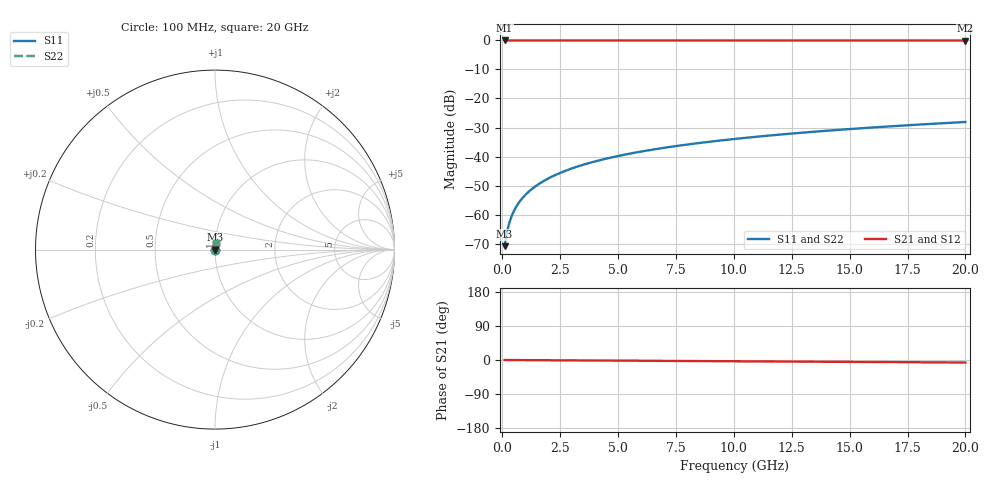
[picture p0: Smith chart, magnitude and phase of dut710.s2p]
! Touchstone file exported from HFSS 2026.1.0
!  File:  C:/ffzhzh/LocalFiles/Ansys_Project_Files/temp_train_TSV_710_1783182002_22436.aedt
!  Generated:  12:21:31 AM Jul  5, 2026
!  Design:  TSV
!  Project:  temp_train_TSV_710_1783182002_22436
! Variables:
!  h_bsmrdl = 2um
!  h_ox = 20um
!  h_rdl = 5um
!  h_sub = 57.57um
!  h_tmrdl = 5um
!  h_tsv = 57.57um
!  h_via = 3um
!  l_bsmrdl = 300um
!  l_sub = 414.18um
!  l_tmrdl = 200um
!  m_sub = 200um
!  pitch = 44.64um
!  r_tsv = 7.09um
!  s_tmrdl = 10um
!  w_bsmrdl = 18um
!  w_sub = 500um
!  w_tmrdl = 12um
!  x_tsv_center1 = 206um
!  x_tsv_center2 = 524um
!  x_tsv_center3 = 736um
!  x_tsv_center4 = 1054um
!  x_tsv_center5 = 1266um
!  x_tsv_center6 = 1584um
# GHz S MA R 50.000000
! Terminal data exported
! Port[1] = TSV1_1_T1
! Port[2] = TSV1_1_T2
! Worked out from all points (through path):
!   200 points, 100 MHz to 20 GHz, reference 50 ohm
!   highest |S21| = 0.00 dB at 100 MHz (marker M1); lowest = 0.0 dB at 20 GHz (marker M2)
!   lowest |S11| = -70.9 dB at 100 MHz (marker M3), VSWR 1.00, Z = 50 + j0.0232 ohm
!   |S11| at or under -10 dB: start of sweep to end of sweep
!   |S22| runs from -70.9 to -28.1 dB; largest |S21 - S12| = 5.2e-15
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0.1  0.0002857 54.2  0.9998 -0.0  0.9998 -0.0  0.0002857 54.2
! Gamma 0 0 0 0
! Port Impedance 50 0 50 0
0.2  0.0004941 69.1  0.9998 -0.1  0.9998 -0.1  0.0004941 69.1
0.3  0.0007137 74.5  0.9998 -0.1  0.9998 -0.1  0.0007137 74.5
0.4  0.0009332 77.2  0.9998 -0.1  0.9998 -0.1  0.0009332 77.2
0.5  0.00115 78.7  0.9998 -0.2  0.9998 -0.2  0.00115 78.7
0.6  0.001364 79.6  0.9998 -0.2  0.9998 -0.2  0.001364 79.6
0.7  0.001574 80.3  0.9997 -0.2  0.9997 -0.2  0.001574 80.3
0.8  0.001783 80.9  0.9997 -0.3  0.9997 -0.3  0.001783 80.9
1  0.002194 81.7  0.9997 -0.3  0.9997 -0.3  0.002194 81.7
1.4  0.003007 82.9  0.9996 -0.5  0.9996 -0.5  0.003007 82.9
1.7  0.003613 83.4  0.9996 -0.6  0.9996 -0.6  0.003613 83.4
2  0.004219 83.9  0.9996 -0.7  0.9996 -0.7  0.004219 83.9
2.7  0.005629 84.5  0.9995 -0.9  0.9995 -0.9  0.005629 84.5
3.5  0.007234 84.8  0.9995 -1.2  0.9995 -1.2  0.007234 84.8
4.2  0.008631 84.9  0.9994 -1.4  0.9994 -1.4  0.008631 84.9
5  0.01022 84.9  0.9993 -1.7  0.9993 -1.7  0.01022 84.9
6.8  0.01377 84.7  0.9992 -2.3  0.9992 -2.3  0.01377 84.7
8.3  0.01671 84.5  0.9991 -2.8  0.9991 -2.8  0.01671 84.5
10.1  0.02023 84.2  0.9989 -3.4  0.9989 -3.4  0.02023 84.2
13.4  0.02665 83.4  0.9986 -4.4  0.9986 -4.4  0.02665 83.4
16.7  0.03304 82.5  0.9983 -5.5  0.9983 -5.5  0.03304 82.5
20  0.03939 81.6  0.998 -6.6  0.998 -6.6  0.03939 81.6
